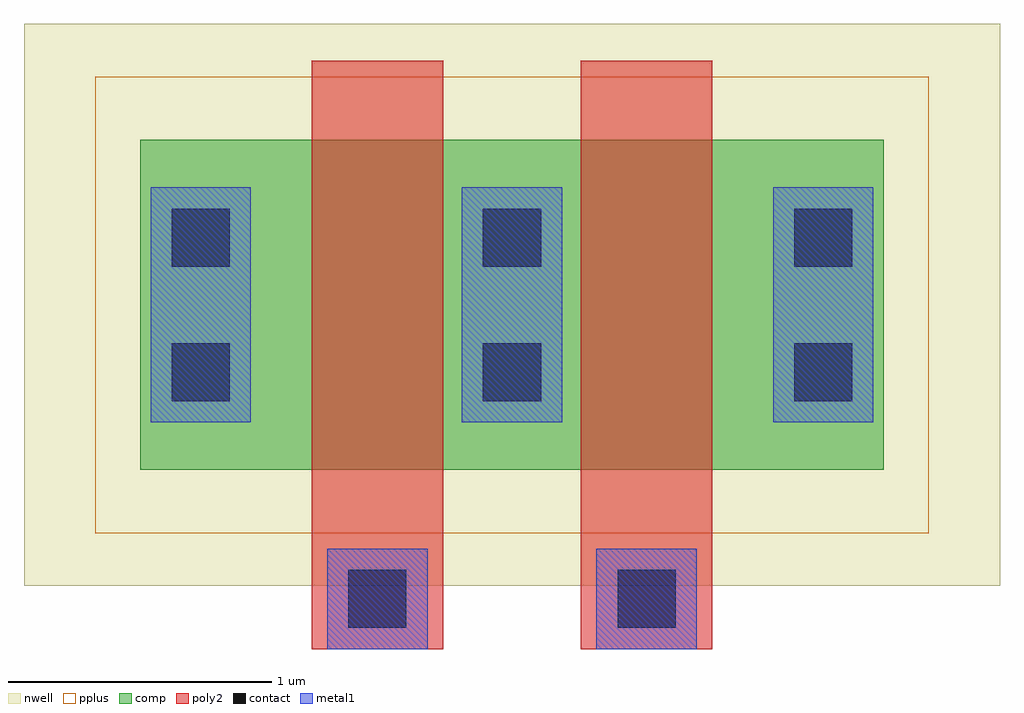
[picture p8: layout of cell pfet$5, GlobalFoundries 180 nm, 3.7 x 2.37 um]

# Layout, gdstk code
import gdstk
lib = gdstk.Library(unit=1e-6, precision=5e-09)
def R(c, l, rs):  # rectangles x0, y0, x1, y1
    for r in rs: c.add(gdstk.rectangle(r[:2], r[2:], *l))
def A(c, l, x, y, w, h, nx, ny, dx, dy):  # array of equal rectangles
    R(c, l, [(x+i*dx, y+j*dy, x+i*dx+w, y+j*dy+h) for i in range(nx) for j in range(ny)])
nwell = (21, 0)
comp = (22, 0)
poly2 = (30, 0)
pplus = (31, 0)
contact = (33, 0)
metal1 = (34, 0)

pfet_5 = lib.new_cell('pfet$5')
R(pfet_5, nwell, [(-0.9,-0.44,2.8,1.69)])
R(pfet_5, comp, [(-0.46,0,0,1.25), (0,0,1.9,1.25), (1.9,0,2.36,1.25)])
R(pfet_5, poly2, [(0.19,-0.68,0.69,-0.3), (1.21,-0.68,1.71,-0.3), (0.19,-0.3,0.69,1.55), (1.21,-0.3,1.71,1.55)])
R(pfet_5, pplus, [(-0.63,-0.24,2.53,1.49)])
A(pfet_5, contact, -0.34, 0.26, 0.22, 0.22, 3, 2, 1.18, 0.51)
R(pfet_5, contact, [(0.33,-0.6,0.55,-0.38), (1.35,-0.6,1.57,-0.38)])
A(pfet_5, metal1, -0.42, 0.18, 0.38, 0.89, 3, 1, 1.18, 0)
R(pfet_5, metal1, [(0.25,-0.68,0.63,-0.3), (1.27,-0.68,1.65,-0.3)])

lib.write_gds('pfet_5.gds')
